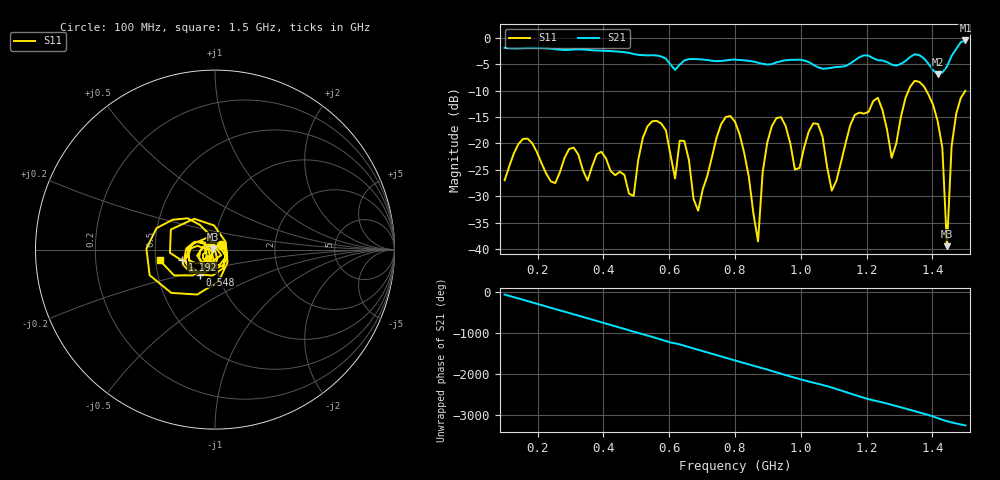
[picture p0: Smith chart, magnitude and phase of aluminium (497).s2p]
! NanoVNA-App
! Date: 2025-09-25 14:59:09
! Start: 100MHz Stop: 1,5GHz Points: 101
! S-Parameter data: F S11 S21 S12 S22
# Hz S RI R 50
!  Frequency  S11_Real  S11_Imag  S21_Real  S21_Imag  S12_Real  S12_Imag  S22_Real  S22_Imag
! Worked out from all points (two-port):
!   101 points, 100 MHz to 1.5 GHz, reference 50 ohm
!   highest |S21| = -0.52 dB at 1.5 GHz (marker M1); lowest = -6.9 dB at 1.416 GHz (marker M2)
!   |S21| within 3 dB of the highest: start of sweep to 574.3 MHz; 1.458 GHz to end of sweep (the widest 2 of 4)
!   lowest |S11| = -39.4 dB at 1.444 GHz (marker M3), VSWR 1.02, Z = 49 + j0.147 ohm
!   |S11| at or under -10 dB: start of sweep to 1.327 GHz; 1.381 GHz to end of sweep
!   S12 and S22 are empty: the file has one direction only
!   S11 on the Smith chart (normalised r, x): 100 MHz: 1.07, +0.06; 548 MHz: 0.82, -0.23; 1.192 GHz: 0.69, -0.08; 1.5 GHz: 0.53, -0.07
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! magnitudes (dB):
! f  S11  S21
! 100 MHz  -27.0  -1.9
! 156 MHz  -19.1  -2.0
! 338 MHz  -25.1  -2.2
! 492 MHz  -29.9  -3.1
! 548 MHz  -15.8  -3.3
! 576 MHz  -16.2  -3.5
! 646 MHz  -19.5  -4.3
! 688 MHz  -32.7  -4.1
! 800 MHz  -15.9  -4.1
! 870 MHz  -38.5  -4.7
! 912 MHz  -16.7  -5.0
! 982 MHz  -24.9  -4.2
! 1.038 GHz  -16.2  -5.1
! 1.094 GHz  -28.9  -5.7
! 1.192 GHz  -14.4  -3.3
! 1.234 GHz  -11.4  -4.3
! 1.276 GHz  -22.7  -5.1
! 1.346 GHz  -8.2  -3.1
! 1.416 GHz  -15.8  -6.9
! 1.444 GHz  -39.4  -5.4
! 1.458 GHz  -20.6  -3.5
! 1.5 GHz  -10.1  -0.5
